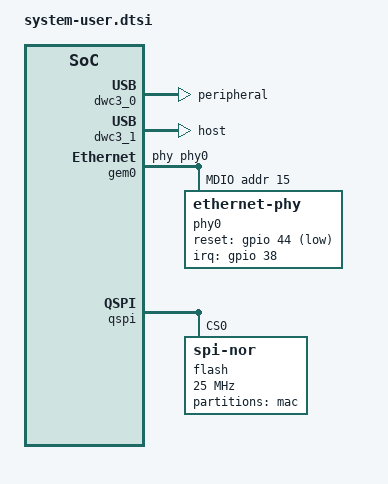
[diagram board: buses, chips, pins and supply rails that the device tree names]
/*
 * Genesys ZU-3EG board fixes on top of the sdtgen-generated Linux device tree.
 */

/*
 * SD1 (microSD slot): the generated node says xlnx,has-wp = <0>, i.e. no
 * write-protect line is wired to the controller, but it lacks the generic
 * "disable-wp" property, so the MMC core trusts the controller's WP status and
 * the card comes up read-only ("mmcblk0: ... (ro)"). With a read-only card the
 * esp/storage vfat mounts fail and systemd drops to emergency mode
 * (first Linux boot, 2026-09-24).
 */
&sdhci1 {
	disable-wp;
	/*
	 * With disable-wp alone the card enumerates as "UHS-I speed SDR104" and
	 * reads work, but writes fail: "mmc0: error -110 writing Cache Flush bit"
	 * then I/O errors, so root goes read-only and the vfat mounts fail.
	 * no-1-8-v keeps the card at 3.3 V high speed (no SDR104 through the
	 * level shifter) -- a diagnostic to isolate the UHS path. Digilent's own
	 * PetaLinux dtsi (Genesys-ZU-OS, 3eg/master) keeps UHS and instead sets
	 * xlnx,itap-delay-* values, noting SDR104 tuning "fails on some cards".
	 */
	no-1-8-v;
};

/*
 * USB roles (Phase 8, docs/phase8_status_2026-09-25.md sec. 3.2 / 9.2).
 *
 * USB0 = the Type-C port J6 (ULPI USB3320 on MIO 52-63; the TUSB322I does the
 * Type-C attach on its own, in its power-up DRP mode). It is the UAC2 gadget,
 * so it is pinned to peripheral: the Mac is always the host. High speed only:
 * 8+8 channels at 48 kHz need ~1.5 MB/s per direction, and the generated tree
 * gives dwc3_0 no USB 3 PHY (the PS does route USB 3 to GT lane 1; Digilent's
 * BSP adds phys = <&lane1 ...> when it wants SuperSpeed host).
 *
 * USB1 = the USB2513B hub (2 x Type-A + Mini PCIe): host, for class-compliant
 * interfaces through snd-usb-audio. With USB_DWC3_DUAL_ROLE built in, a
 * controller with no dr_mode comes up as OTG, so both are set explicitly.
 *
 * The susphy quirks are the ones Digilent's BSP uses on both controllers.
 */
&dwc3_0 {
	dr_mode = "peripheral";
	maximum-speed = "high-speed";
	snps,dis_u2_susphy_quirk;
	snps,dis_u3_susphy_quirk;
};

&dwc3_1 {
	dr_mode = "host";
	snps,dis_u2_susphy_quirk;
	snps,dis_u3_susphy_quirk;
};

/*
 * PS <-> PL audio link (Phase 8, docs/phase8_status_2026-09-25.md sec. 14).
 *
 * link_formatter is the AMD Audio Formatter in the PL (sdtgen names it after
 * the BD cell, so this block needs a Phase 8+ bitstream/XSA). Its driver is
 * only a platform component; fpgamixer-link-card (a module in this layer)
 * makes it the ALSA card "FPGAmixerLink".
 *
 * mclk-frequency is the NOMINAL audio master clock: it sets the formatter's
 * MM2S Fs multiplier to 12288000 / 48000 = 256, one frame per core frame. The
 * real mclk is 12.2919 MHz.
 *
 * xlnx,tx / xlnx,rx are REQUIRED on the formatter node although they point
 * back at our own card node: on AES->PCM capture the driver reads
 * nodes[capture]->name with no NULL check, so without them the first capture
 * would oops. The card node's name must not contain "hdmi", "sdi" or "dp"
 * (the driver strstr()s for those). The formatter also spawns AMD's
 * xlnx_snd_card device from these phandles; its probe finds no
 * "xlnx,snd-pcm" here and gives up with one "platform node not found".
 */
/ {
	fpgamixer_link: fpgamixer-link {
		compatible = "fpgamixer,pcm-link-card";
		audio-formatter = <&link_formatter>;
		mclk-frequency = <12288000>;
	};
};

&link_formatter {
	xlnx,tx = <&fpgamixer_link>;
	xlnx,rx = <&fpgamixer_link>;
};

/*
 * GEM0 + TI DP83867 PHY. The generated node has no PHY child, so macb scans the
 * MDIO bus and the PHY device has no of_node; dp83867_of_init() then returns
 * -ENODEV, the probe fails silently and phylib falls back to "Generic PHY".
 * Describing the PHY binds the real driver, which programs the RGMII delays.
 *
 * Values from Digilent's out-of-box BSP (Digilent/Genesys-ZU-OOB-os, branch
 * 3eg-master, system-user.dtsi), which gives the dt-bindings/net/ti-dp83867.h
 * names: RX 2.00 ns (0x7), TX 1.50 ns (0x5), FIFO 4 nibbles (0x1), CLK_OUT =
 * REF_CLK (0xc); PHY reset on MIO44 (active low), interrupt on MIO38 (level
 * low). MIO38/44 are GPIO in our psu_init. Digilent spelled the deassert delay
 * "reset_deassert-us", which the kernel ignores; the intended 200 us is used here.
 *
 * MAC: Digilent programs the board's EUI-48 at QSPI offset 0x1FFF000 (their
 * zynq-MAC-in-flash.patch for U-Boot). Read back on this board as
 * 00:18:3e:05:06:48 (OUI 00:18:3E = Digilent), both from U-Boot
 * ("sf probe 0 25000000 0") and from Linux via the nvmem cell below
 * (/sys/bus/nvmem/devices/mtd1/nvmem).
 *
 * THIS IS BOARD-SPECIFIC: another Genesys ZU needs its own address here.
 * Pointing gem0 at the cell with nvmem-cells = <&gem0_mac> would make it
 * generic, but with that, macb never probed (2026-09-24): fw_devlink kept a
 * link to the mac-address@f000 node, which never becomes a device, and did
 * not hand it over to spi0.0 when spi-nor bound ("deferred probe pending:
 * ... wait for supplier ...mac-address@f000"). Cause not yet established.
 */
&gem0 {
	phy-handle = <&phy0>;
	local-mac-address = [00 18 3e 05 06 48];

	mdio {
		#address-cells = <1>;
		#size-cells = <0>;

		phy0: ethernet-phy@f {
			reg = <0xf>;
			reset-gpios = <&gpio 44 1>;	/* GPIO_ACTIVE_LOW */
			reset-assert-us = <1>;
			reset-deassert-us = <200>;
			interrupt-parent = <&gpio>;
			interrupts = <38 8>;		/* IRQ_TYPE_LEVEL_LOW */
			ti,rx-internal-delay = <0x7>;	/* 2.00 ns */
			ti,tx-internal-delay = <0x5>;	/* 1.50 ns */
			ti,fifo-depth = <0x1>;		/* 4 nibbles */
			ti,clk-output-sel = <0xc>;	/* REF_CLK */
		};
	};
};

/*
 * QSPI flash: IS25LP256 (32 MiB, 64 KiB erase blocks per U-Boot). Only the last
 * erase block is described, read-only, so the rest of the flash is not exposed.
 * Single-bit at 25 MHz: the settings the MAC was read back with in U-Boot; this
 * node only ever reads 6 bytes. gem0_mac is currently unreferenced (see the
 * gem0 comment); it stays so the MAC can be read from Linux, and for the
 * fw_devlink follow-up.
 */
&qspi {
	flash@0 {
		compatible = "jedec,spi-nor";
		reg = <0>;
		spi-max-frequency = <25000000>;
		spi-rx-bus-width = <1>;
		spi-tx-bus-width = <1>;

		partitions {
			compatible = "fixed-partitions";
			#address-cells = <1>;
			#size-cells = <1>;

			partition@1ff0000 {
				compatible = "nvmem-cells";
				label = "mac";
				reg = <0x1ff0000 0x10000>;
				read-only;

				nvmem-layout {
					compatible = "fixed-layout";
					#address-cells = <1>;
					#size-cells = <1>;

					gem0_mac: mac-address@f000 {
						reg = <0xf000 0x6>;
					};
				};
			};
		};
	};
};
